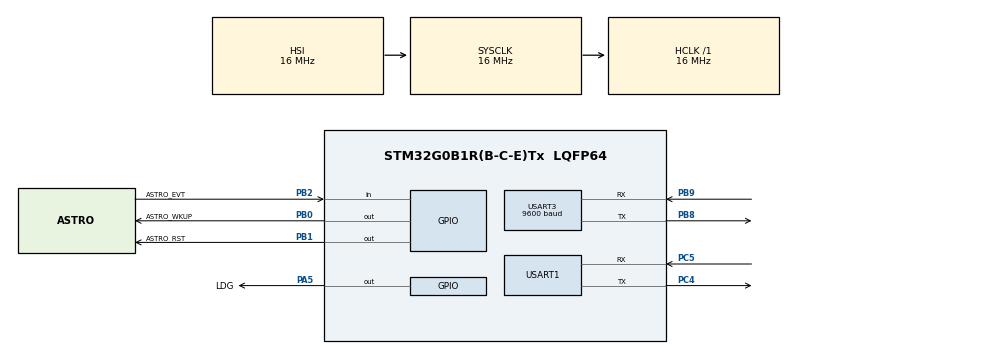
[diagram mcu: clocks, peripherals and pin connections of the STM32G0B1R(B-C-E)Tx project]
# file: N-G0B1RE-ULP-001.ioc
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Mcu.Family=STM32G0
Mcu.Name=STM32G0B1R(B-C-E)Tx
Mcu.Package=LQFP64
PA13.GPIO_Label=TMS
PA13.Mode=Serial_Wire
PA13.Signal=SYS_SWDIO
PA14-BOOT0.GPIO_Label=TCK
PA14-BOOT0.Mode=Serial_Wire
PA14-BOOT0.Signal=SYS_SWCLK
PA5.GPIO_Label=LDG
PA5.GPIO_Speed=GPIO_SPEED_FREQ_HIGH
PA5.Signal=GPIO_Output
PB0.GPIO_Label=ASTRO_WKUP
PB0.Signal=GPIO_Output
PB1.GPIO_Label=ASTRO_RST
PB1.Signal=GPIO_Output
PB2.GPIO_Label=ASTRO_EVT
PB2.Signal=GPIO_Input
PB8.Mode=Asynchronous
PB8.Signal=USART3_TX
PB9.Mode=Asynchronous
PB9.Signal=USART3_RX
PC13.Mode=SYS_WakeUp1
PC13.Signal=SYS_WKUP2
PC14-OSC32_IN\ (PC14).Mode=LSE-External-Oscillator
PC14-OSC32_IN\ (PC14).Signal=RCC_OSC32_IN
PC15-OSC32_OUT\ (PC15).Mode=LSE-External-Oscillator
PC15-OSC32_OUT\ (PC15).Signal=RCC_OSC32_OUT
PC4.Mode=Asynchronous
PC4.Signal=USART1_TX
PC5.Mode=Asynchronous
PC5.Signal=USART1_RX
PF0-OSC_IN\ (PF0).GPIO_Label=MCO
PF0-OSC_IN\ (PF0).Mode=HSE-External-Clock-Source
PF0-OSC_IN\ (PF0).Signal=RCC_OSC_IN
ProjectManager.HeapSize=0x200
ProjectManager.StackSize=0x400
ProjectManager.TargetToolchain=STM32CubeIDE
RCC.AHBFreq_Value=16000000
RCC.CortexFreq_Value=16000000
RCC.EXTERNAL_CLOCK_VALUE=12288000
RCC.HCLKFreq_Value=16000000
RCC.HSE_VALUE=8000000
RCC.HSI48_VALUE=48000000
RCC.HSI_VALUE=16000000
RCC.SYSCLKFreq_VALUE=16000000
RCC.USBFreq_Value=48000000
RCC.VCOOutputFreq_Value=128000000
USART1.VirtualMode-Asynchronous=VM_ASYNC
USART3.BaudRate=9600
USART3.VirtualMode-Asynchronous=VM_ASYNC
VP_SYS_VS_DBSignals.Mode=DisableDeadBatterySignals
board=NUCLEO-G0B1RE

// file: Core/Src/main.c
/* USER CODE BEGIN Header */
/**
  ******************************************************************************
  * @file           : main.c
  * @brief          : Main program body
  ******************************************************************************
  * @attention
  *
  * Copyright (c) 2024 STMicroelectronics.
  * All rights reserved.
  *
  * This software is licensed under terms that can be found in the LICENSE file
  * in the root directory of this software component.
  * If no LICENSE file comes with this software, it is provided AS-IS.
  *
  ******************************************************************************
  */
/* USER CODE END Header */
#include "main.h"

/* USER CODE BEGIN Includes */
#include "my_astronode.h"
#include <stdio.h>
#include <string.h>
/* USER CODE END Includes */

UART_HandleTypeDef huart1;
UART_HandleTypeDef huart3;

/* USER CODE BEGIN PV */
char		dbg_payload[250] = {0} ;
/* USER CODE END PV */

void SystemClock_Config(void);
static void MX_GPIO_Init(void);
static void MX_USART3_UART_Init(void);
static void MX_USART1_UART_Init(void);
/* USER CODE BEGIN PFP */
void astro_reset ( void ) ;
void sys_init ( void ) ;
void send_debug_logs ( char* ) ;
void my_astro_init ( void ) ;
void my_led_toggle ( uint8_t ) ;
/* USER CODE END PFP */

int main(void)
{

  /* MCU Configuration--------------------------------------------------------*/

  /* Reset of all peripherals, Initializes the Flash interface and the Systick. */
  HAL_Init();

  /* Configure the system clock */
  SystemClock_Config();

  /* Initialize all configured peripherals */
  MX_GPIO_Init();
  MX_USART3_UART_Init();
  MX_USART1_UART_Init();
  /* USER CODE BEGIN 2 */
  send_debug_logs ( "Hello N-G0B1RE ULP Test" ) ;
  sys_init () ;
  HAL_Delay ( 4000 ) ;
  astro_reset () ;
  HAL_PWREx_EnterSHUTDOWNMode () ;
  /* USER CODE END 2 */

  /* Infinite loop */
  while (1)
  {

  }
}

void SystemClock_Config(void)
{
  RCC_OscInitTypeDef RCC_OscInitStruct = {0};
  RCC_ClkInitTypeDef RCC_ClkInitStruct = {0};

  /** Configure the main internal regulator output voltage
  */
  HAL_PWREx_ControlVoltageScaling(PWR_REGULATOR_VOLTAGE_SCALE1);

  /** Initializes the RCC Oscillators according to the specified parameters
  * in the RCC_OscInitTypeDef structure.
  */
  RCC_OscInitStruct.OscillatorType = RCC_OSCILLATORTYPE_HSI;
  RCC_OscInitStruct.HSIState = RCC_HSI_ON;
  RCC_OscInitStruct.HSIDiv = RCC_HSI_DIV1;
  RCC_OscInitStruct.HSICalibrationValue = RCC_HSICALIBRATION_DEFAULT;
  RCC_OscInitStruct.PLL.PLLState = RCC_PLL_NONE;
  if (HAL_RCC_OscConfig(&RCC_OscInitStruct) != HAL_OK)
  {
    Error_Handler();
  }

  /** Initializes the CPU, AHB and APB buses clocks
  */
  RCC_ClkInitStruct.ClockType = RCC_CLOCKTYPE_HCLK|RCC_CLOCKTYPE_SYSCLK
                              |RCC_CLOCKTYPE_PCLK1;
  RCC_ClkInitStruct.SYSCLKSource = RCC_SYSCLKSOURCE_HSI;
  RCC_ClkInitStruct.AHBCLKDivider = RCC_SYSCLK_DIV1;
  RCC_ClkInitStruct.APB1CLKDivider = RCC_HCLK_DIV1;

  if (HAL_RCC_ClockConfig(&RCC_ClkInitStruct, FLASH_LATENCY_0) != HAL_OK)
  {
    Error_Handler();
  }
}

static void MX_USART1_UART_Init(void)
{

  huart1.Instance = USART1;
  huart1.Init.BaudRate = 115200;
  huart1.Init.WordLength = UART_WORDLENGTH_8B;
  huart1.Init.StopBits = UART_STOPBITS_1;
  huart1.Init.Parity = UART_PARITY_NONE;
  huart1.Init.Mode = UART_MODE_TX_RX;
  huart1.Init.HwFlowCtl = UART_HWCONTROL_NONE;
  huart1.Init.OverSampling = UART_OVERSAMPLING_16;
  huart1.Init.OneBitSampling = UART_ONE_BIT_SAMPLE_DISABLE;
  huart1.Init.ClockPrescaler = UART_PRESCALER_DIV1;
  huart1.AdvancedInit.AdvFeatureInit = UART_ADVFEATURE_NO_INIT;
  if (HAL_UART_Init(&huart1) != HAL_OK)
  {
    Error_Handler();
  }
  if (HAL_UARTEx_SetTxFifoThreshold(&huart1, UART_TXFIFO_THRESHOLD_1_8) != HAL_OK)
  {
    Error_Handler();
  }
  if (HAL_UARTEx_SetRxFifoThreshold(&huart1, UART_RXFIFO_THRESHOLD_1_8) != HAL_OK)
  {
    Error_Handler();
  }
  if (HAL_UARTEx_DisableFifoMode(&huart1) != HAL_OK)
  {
    Error_Handler();
  }

}

static void MX_USART3_UART_Init(void)
{

  huart3.Instance = USART3;
  huart3.Init.BaudRate = 9600;
  huart3.Init.WordLength = UART_WORDLENGTH_8B;
  huart3.Init.StopBits = UART_STOPBITS_1;
  huart3.Init.Parity = UART_PARITY_NONE;
  huart3.Init.Mode = UART_MODE_TX_RX;
  huart3.Init.HwFlowCtl = UART_HWCONTROL_NONE;
  huart3.Init.OverSampling = UART_OVERSAMPLING_16;
  huart3.Init.OneBitSampling = UART_ONE_BIT_SAMPLE_DISABLE;
  huart3.Init.ClockPrescaler = UART_PRESCALER_DIV1;
  huart3.AdvancedInit.AdvFeatureInit = UART_ADVFEATURE_NO_INIT;
  if (HAL_UART_Init(&huart3) != HAL_OK)
  {
    Error_Handler();
  }
  if (HAL_UARTEx_SetTxFifoThreshold(&huart3, UART_TXFIFO_THRESHOLD_1_8) != HAL_OK)
  {
    Error_Handler();
  }
  if (HAL_UARTEx_SetRxFifoThreshold(&huart3, UART_RXFIFO_THRESHOLD_1_8) != HAL_OK)
  {
    Error_Handler();
  }
  if (HAL_UARTEx_DisableFifoMode(&huart3) != HAL_OK)
  {
    Error_Handler();
  }

}

static void MX_GPIO_Init(void)
{
  GPIO_InitTypeDef GPIO_InitStruct = {0};

  /* GPIO Ports Clock Enable */
  __HAL_RCC_GPIOC_CLK_ENABLE();
  __HAL_RCC_GPIOF_CLK_ENABLE();
  __HAL_RCC_GPIOA_CLK_ENABLE();
  __HAL_RCC_GPIOB_CLK_ENABLE();

  /*Configure GPIO pin Output Level */
  HAL_GPIO_WritePin(LDG_GPIO_Port, LDG_Pin, GPIO_PIN_RESET);

  /*Configure GPIO pin Output Level */
  HAL_GPIO_WritePin(GPIOB, ASTRO_WKUP_Pin|ASTRO_RST_Pin, GPIO_PIN_RESET);

  /*Configure GPIO pin : LDG_Pin */
  GPIO_InitStruct.Pin = LDG_Pin;
  GPIO_InitStruct.Mode = GPIO_MODE_OUTPUT_PP;
  GPIO_InitStruct.Pull = GPIO_NOPULL;
  GPIO_InitStruct.Speed = GPIO_SPEED_FREQ_HIGH;
  HAL_GPIO_Init(LDG_GPIO_Port, &GPIO_InitStruct);

  /*Configure GPIO pins : ASTRO_WKUP_Pin ASTRO_RST_Pin */
  GPIO_InitStruct.Pin = ASTRO_WKUP_Pin|ASTRO_RST_Pin;
  GPIO_InitStruct.Mode = GPIO_MODE_OUTPUT_PP;
  GPIO_InitStruct.Pull = GPIO_NOPULL;
  GPIO_InitStruct.Speed = GPIO_SPEED_FREQ_LOW;
  HAL_GPIO_Init(GPIOB, &GPIO_InitStruct);

  /*Configure GPIO pin : ASTRO_EVT_Pin */
  GPIO_InitStruct.Pin = ASTRO_EVT_Pin;
  GPIO_InitStruct.Mode = GPIO_MODE_INPUT;
  GPIO_InitStruct.Pull = GPIO_NOPULL;
  HAL_GPIO_Init(ASTRO_EVT_GPIO_Port, &GPIO_InitStruct);

}

/* USER CODE BEGIN 4 */
void my_led_toggle ( uint8_t i )
{
	while ( i )
	{
		HAL_GPIO_TogglePin ( LDG_GPIO_Port , LDG_Pin ) ;
		i-- ;
	}
}

// ASTRO
void astro_reset ( void )
{
	HAL_GPIO_WritePin ( ASTRO_RST_GPIO_Port , ASTRO_RST_Pin, GPIO_PIN_SET ) ;
	HAL_Delay ( 100 ) ;
	HAL_GPIO_WritePin ( ASTRO_RST_GPIO_Port , ASTRO_RST_Pin, GPIO_PIN_RESET ) ;
}
void send_debug_logs ( char* p_tx_buffer )
{
    uint32_t length = strlen ( p_tx_buffer ) ;

    if ( length > 250 )
    {
        HAL_UART_Transmit ( &huart1 , ( uint8_t* ) "[ERROR] UART buffer reached max length.\n" , 42 , 1000 ) ;
        length = 250 ;
    }

    HAL_UART_Transmit ( &huart1 , ( uint8_t* ) p_tx_buffer , length , 1000 ) ;
    HAL_UART_Transmit ( &huart1 , ( uint8_t* ) "\n" , 1 , 1000 ) ;
}
void my_astronode_reset ( void )
{
    HAL_GPIO_WritePin ( ASTRO_RST_GPIO_Port , ASTRO_RST_Pin , GPIO_PIN_SET ) ;
    HAL_Delay ( 1 ) ;
    HAL_GPIO_WritePin ( ASTRO_RST_GPIO_Port , ASTRO_RST_Pin , GPIO_PIN_RESET ) ;
    HAL_Delay ( 250 ) ;
}
void send_astronode_request ( uint8_t* p_tx_buffer , uint32_t length )
{
    send_debug_logs ( "Message sent to the Astronode --> " ) ;
    send_debug_logs ( ( char* ) p_tx_buffer ) ;
    HAL_UART_Transmit ( &huart3 , p_tx_buffer , length , 1000 ) ;
}
uint32_t get_systick ( void )
{
    return HAL_GetTick() ;
}
bool is_systick_timeout_over ( uint32_t starting_value , uint16_t duration )
{
    return ( get_systick () - starting_value > duration ) ? true : false ;
}
bool is_astronode_character_received ( uint8_t* p_rx_char )
{
    return ( HAL_UART_Receive ( &huart3 , p_rx_char , 1 , 100 ) == HAL_OK ? true : false ) ;
}
bool my_astro_evt_pin ()
{
	return ( HAL_GPIO_ReadPin ( ASTRO_EVT_GPIO_Port , ASTRO_EVT_Pin ) == GPIO_PIN_SET ? true : false);
}
void my_astro_init ( void )
{
	bool cfg_wr = false ;

	while ( !cfg_wr )
	{
		my_astronode_reset () ;
		// Satellite Acknowledgement (true): Asset informed of ACK to satellite (default)
		// Add Geolocation (true)
		// Enable_ephemeris (true)
		// Deep Sleep Mode (false) NOT used
		// Satellite Ack Event Pin Mask (true): EVT pin shows EVT register Payload Ack bit state
		// Reset Notification Event Pin Mask (true):  EVT pin shows EVT register Reset Event Notification bit state
		// Command Available Event Pin Mask (true): EVT pin shows EVT register Command Available bit state
		// Message Transmission (Tx) Pending Event Pin Mask (false):  EVT pin does not show EVT register Msg Tx Pending bit state
		cfg_wr = astronode_send_cfg_wr ( true , true , true , false , true , true , true , false  ) ;
	}

	if ( cfg_wr )
	{
		astronode_send_rtc_rr () ;
		astronode_send_cfg_sr () ;
		astronode_send_mpn_rr () ;
		astronode_send_msn_rr () ;
		astronode_send_mgi_rr () ;
		astronode_send_pld_fr () ;
	}
	while ( my_astro_evt_pin () )
  {
	  sprintf ( dbg_payload , "%s,%d,my_astro_evt_pin" , __FILE__ , __LINE__ ) ;
	  send_debug_logs ( dbg_payload ) ;
	  my_astro_handle_evt () ;
  }
}

void sys_init ( void )
{
	my_astro_init () ;
}
/* USER CODE END 4 */

void Error_Handler(void)
{
  __disable_irq();
  while (1)
  {
  }
}
